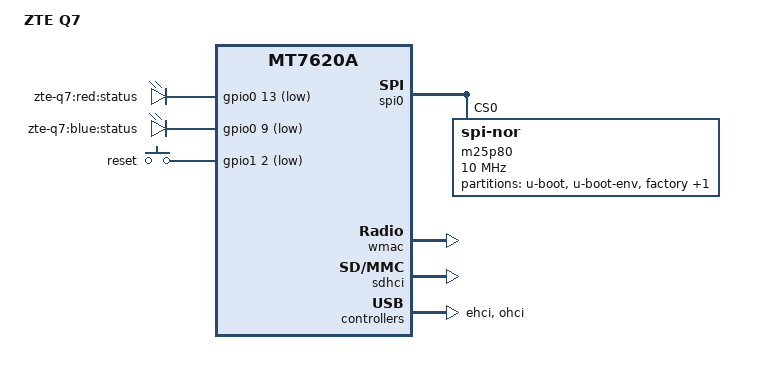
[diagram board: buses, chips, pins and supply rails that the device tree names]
/dts-v1/;

#include "mt7620a.dtsi"

#include <dt-bindings/gpio/gpio.h>
#include <dt-bindings/input/input.h>

/ {
	compatible = "zte,q7", "ralink,mt7620a-soc";
	model = "ZTE Q7";

	aliases {
		led-status = &led_status_blue;
	};

	gpio-leds {
		compatible = "gpio-leds";

		statred {
			label = "zte-q7:red:status";
			gpios = <&gpio0 13 GPIO_ACTIVE_LOW>;
		};

		led_status_blue: statblue {
			label = "zte-q7:blue:status";
			gpios = <&gpio0 9 GPIO_ACTIVE_LOW>;
		};
	};

	gpio-keys-polled {
		compatible = "gpio-keys-polled";
		poll-interval = <20>;

		reset {
			label = "reset";
			gpios = <&gpio1 2 GPIO_ACTIVE_LOW>;
			linux,code = <KEY_RESTART>;
		};
	};
};

&gpio0 {
	status = "okay";
};

&gpio1 {
	status = "okay";
};

&spi0 {
	status = "okay";

	m25p80@0 {
		compatible = "jedec,spi-nor";
		reg = <0>;
		spi-max-frequency = <10000000>;

		partitions {
			compatible = "fixed-partitions";
			#address-cells = <1>;
			#size-cells = <1>;

			partition@0 {
				label = "u-boot";
				reg = <0x0 0x30000>;
				read-only;
			};

			partition@30000 {
				label = "u-boot-env";
				reg = <0x30000 0x10000>;
				read-only;
			};

			factory: partition@40000 {
				label = "factory";
				reg = <0x40000 0x10000>;
				read-only;
			};

			partition@50000 {
				label = "firmware";
				reg = <0x50000 0x7b0000>;
			};
		};
	};
};

&pinctrl {
	state_default: pinctrl0 {
		gpio {
			ralink,group = "i2c", "uartf", "rgmii1", "rgmii2", "ephy", "wled";
			ralink,function = "gpio";
		};
	};
};

&ethernet {
	mtd-mac-address = <&factory 0x4>;
	mediatek,portmap = "wllll";
};

&wmac {
	ralink,mtd-eeprom = <&factory 0>;
};

&sdhci {
	status = "okay";
};

&ehci {
	status = "okay";
};

&ohci {
	status = "okay";
};

&gsw {
	mediatek,port4 = "ephy";
};
